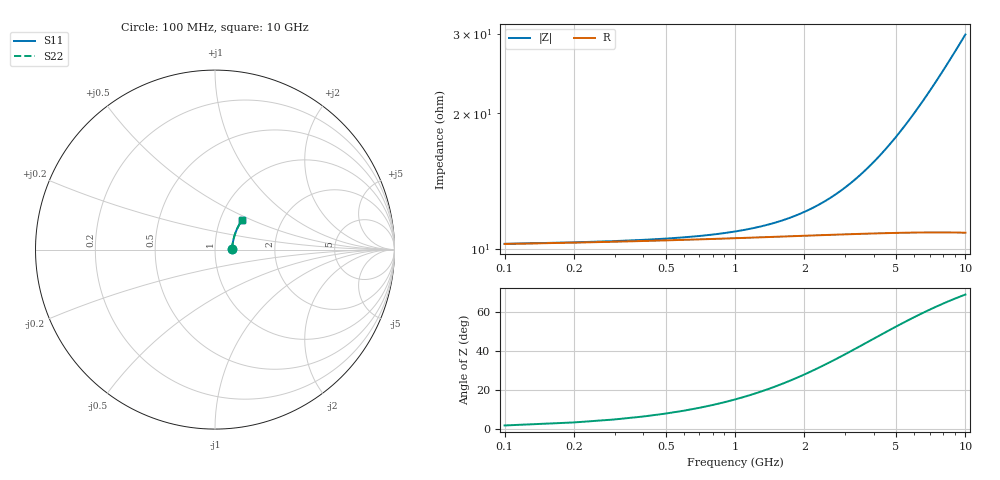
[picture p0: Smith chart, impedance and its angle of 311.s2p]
# Hz S RI R 50.00
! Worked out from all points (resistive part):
!   100 points, 100 MHz to 10 GHz, reference 50 ohm
!   read as one part in series: R = 10.3 ohm at 100 MHz
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1e8  0.093 0.00182  0.907 -0.00279  0.907 -0.00279  0.093 0.00182
2e8  0.0936 0.00364  0.9064 -0.00557  0.9064 -0.00557  0.0936 0.00364
8e8  0.0956 0.0145  0.9044 -0.0222  0.9044 -0.0222  0.0956 0.0145
1.1e9  0.0963 0.0199  0.9036 -0.0305  0.9036 -0.0305  0.0963 0.0199
1.4e9  0.0972 0.0253  0.9027 -0.0388  0.9027 -0.0388  0.0972 0.0253
1.6e9  0.0977 0.0288  0.9022 -0.0443  0.9022 -0.0443  0.0977 0.0288
1.8e9  0.0983 0.0324  0.9015 -0.0498  0.9015 -0.0498  0.0983 0.0324
2.1e9  0.0992 0.0378  0.9006 -0.0581  0.9006 -0.0581  0.0992 0.0378
2.5e9  0.1005 0.0448  0.8991 -0.069  0.8991 -0.069  0.1005 0.0448
2.9e9  0.102 0.0519  0.8976 -0.0799  0.8976 -0.0799  0.102 0.0519
3.4e9  0.104 0.0606  0.8954 -0.0935  0.8954 -0.0935  0.104 0.0606
4.3e9  0.1082 0.0762  0.8908 -0.1178  0.8908 -0.1178  0.1082 0.0762
5.1e9  0.1126 0.0898  0.8861 -0.1391  0.8861 -0.1391  0.1126 0.0898
5.9e9  0.1176 0.1031  0.8806 -0.1602  0.8806 -0.1602  0.1176 0.1031
6.7e9  0.1232 0.1161  0.8745 -0.181  0.8745 -0.181  0.1232 0.1161
7.2e9  0.127 0.124  0.8704 -0.1938  0.8704 -0.1938  0.127 0.124
7.6e9  0.1302 0.1303  0.8669 -0.2039  0.8669 -0.2039  0.1302 0.1303
8e9  0.1335 0.1365  0.8633 -0.214  0.8633 -0.214  0.1335 0.1365
8.4e9  0.137 0.1425  0.8595 -0.2239  0.8595 -0.2239  0.137 0.1425
8.8e9  0.1406 0.1485  0.8555 -0.2338  0.8555 -0.2338  0.1406 0.1485
9.2e9  0.1444 0.1544  0.8514 -0.2435  0.8514 -0.2435  0.1444 0.1544
1e10  0.1522 0.1658  0.8428 -0.2627  0.8428 -0.2627  0.1522 0.1658
